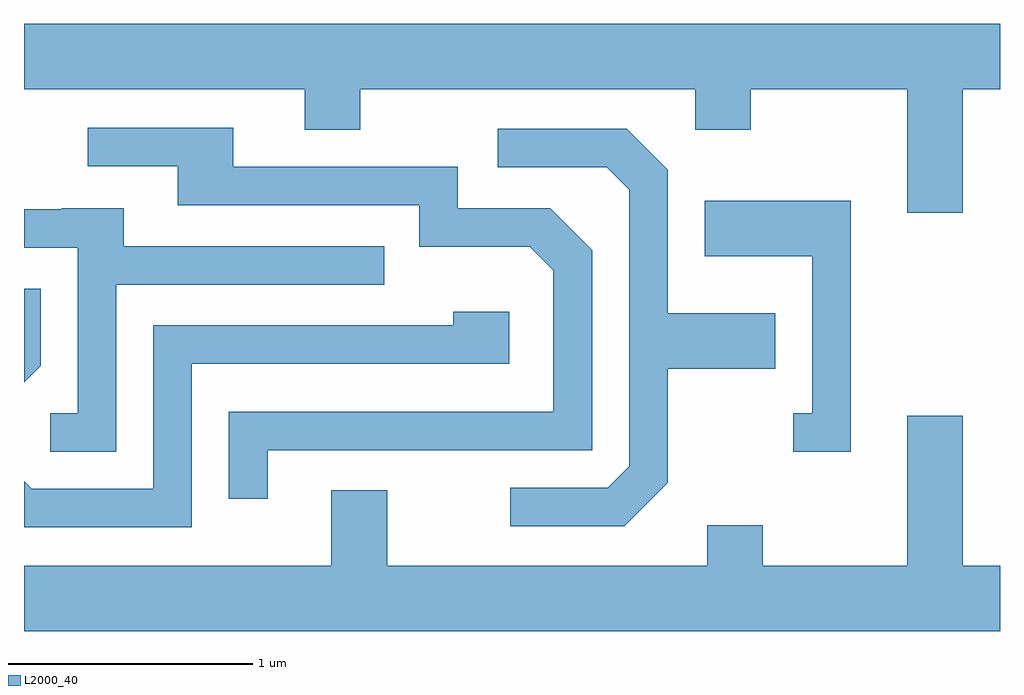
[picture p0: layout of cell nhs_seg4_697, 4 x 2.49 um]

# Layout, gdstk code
import gdstk
lib = gdstk.Library(unit=1e-6, precision=1e-09)
def P(c, l, *ps):  # polygons
    for p in ps: c.add(gdstk.Polygon(p, *l))
L2000_40 = (2000, 40)

nhs_seg4_697 = lib.new_cell('nhs_seg4_697')
P(nhs_seg4_697, L2000_40, [(209.459,1290.296),(209.611,1290.296),(209.611,1290.564),(205.611,1290.564),(205.611,1290.296),(206.761,1290.296),(206.761,1290.131),(206.989,1290.131),(206.989,1290.296),(208.361,1290.296),(208.361,1290.131),(208.589,1290.131),(208.589,1290.296),(209.231,1290.296),(209.231,1289.791),(209.459,1289.791)],
  [(206.609,1288.816),(207.939,1288.816),(207.939,1289.637),(207.767,1289.809),(207.389,1289.809),(207.389,1289.979),(206.469,1289.979),(206.469,1290.139),(205.873,1290.139),(205.873,1289.981),(206.241,1289.981),(206.241,1289.821),(207.231,1289.821),(207.231,1289.651),(207.684,1289.651),(207.781,1289.554),(207.781,1288.974),(206.451,1288.974),(206.451,1288.618),(206.609,1288.618)],
  [(208.249,1288.684),(208.249,1289.151),(208.689,1289.151),(208.689,1289.379),(208.249,1289.379),(208.249,1289.967),(208.082,1290.134),(207.553,1290.134),(207.553,1289.976),(207.999,1289.976),(208.091,1289.884),(208.091,1288.752),(208.004,1288.664),(207.603,1288.664),(207.603,1288.506),(208.072,1288.506)],
  [(208.999,1289.839),(208.401,1289.839),(208.401,1289.611),(208.841,1289.611),(208.841,1288.969),(208.763,1288.969),(208.763,1288.811),(208.999,1288.811)],
  [(205.989,1289.496),(207.088,1289.496),(207.088,1289.654),(206.019,1289.654),(206.019,1289.809),(205.765,1289.809),(205.765,1289.804),(205.611,1289.804),(205.611,1289.646),(205.831,1289.646),(205.831,1288.969),(205.718,1288.969),(205.718,1288.811),(205.989,1288.811)],
  [(205.679,1289.164),(205.679,1289.478),(205.611,1289.478),(205.611,1289.096)],
  [(206.299,1289.171),(207.599,1289.171),(207.599,1289.384),(207.371,1289.384),(207.371,1289.329),(206.141,1289.329),(206.141,1288.659),(205.642,1288.659),(205.611,1288.69),(205.611,1288.501),(206.299,1288.501)],
  [(209.611,1288.344),(209.459,1288.344),(209.459,1288.959),(209.231,1288.959),(209.231,1288.344),(208.639,1288.344),(208.639,1288.509),(208.411,1288.509),(208.411,1288.344),(207.099,1288.344),(207.099,1288.654),(206.871,1288.654),(206.871,1288.344),(205.611,1288.344),(205.611,1288.076),(209.611,1288.076)])

lib.write_gds('nhs_seg4_697.gds')
